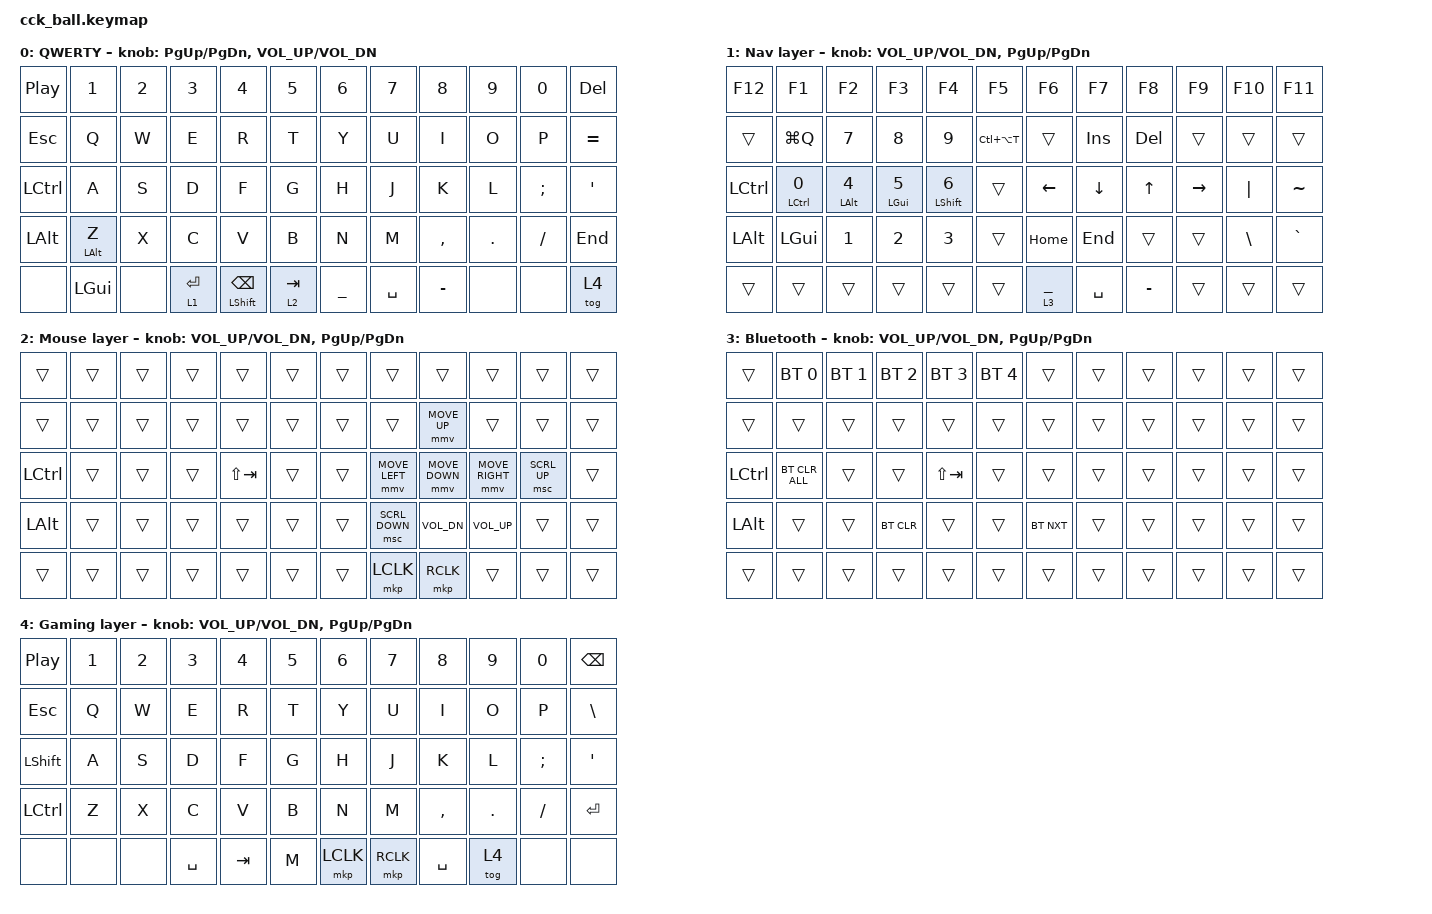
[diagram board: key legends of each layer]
#define ZMK_POINTING_DEFAULT_MOVE_VAL 1000
#define ZMK_POINTING_DEFAULT_SCRL_VAL 200

#include <input/processors.dtsi>
#include <zephyr/dt-bindings/input/input-event-codes.h>
#include <behaviors.dtsi>
#include <dt-bindings/zmk/bt.h>
#include <dt-bindings/zmk/keys.h>
#include <dt-bindings/zmk/pointing.h>
#include <dt-bindings/zmk/input_transform.h>

&soft_off { hold-time-ms = <2000>; };

&mmv_input_listener { input-processors = <&zip_xy_scaler 2 1>; };

&msc_input_listener { input-processors = <&zip_scroll_scaler 2 1>; };

&msc {
    acceleration-exponent = <0>;
    time-to-max-speed-ms = <300>;
    delay-ms = <0>;
};

&mmv {
    acceleration-exponent = <1>;
    time-to-max-speed-ms = <500>;
    trigger-period-ms = <16>;
};

#define MY_COMBO(NAME, LAYERS, KEYS, BINDING) \
  combo##NAME {                               \
    timeout-ms = <50>;                        \
    layers = <LAYERS>;                        \
    key-positions = <KEYS>;                   \
    bindings = <&kp BINDING>;                 \
  };

/ {
    combos {
        compatible = "zmk,combos";
        MY_COMBO(lt  , 1  , 31 32, LT)
        MY_COMBO(gt  , 1  , 32 33, GT)
        MY_COMBO(lpar, 0  , 31 32, LPAR)
        MY_COMBO(rpar, 0  , 32 33, RPAR)
        MY_COMBO(lbrk, 1  , 43 44, LBKT)
        MY_COMBO(rbrk, 1  , 44 45, RBKT)
        MY_COMBO(lbrc, 0  , 43 44, LBRC)
        MY_COMBO(rbrc, 0  , 44 45, RBRC)
        MY_COMBO(eq  , 0  , 39 40, EQUAL)
        MY_COMBO(plus, 0 1, 38 39, PLUS)
        MY_COMBO(esc , 0  , 27 28, ESC)
    };

    behaviors {
        hm: homerow_mods {
            compatible = "zmk,behavior-hold-tap";
            #binding-cells = <2>;
            tapping-term-ms = <200>;
            quick-tap-ms = <0>;
            flavor = "tap-preferred";
            bindings = <&kp>, <&kp>;
        };
    };

    keymap {
        compatible = "zmk,keymap";

        QWERTY {
            display-name = "QWERTY";
            bindings = <
&kp C_PP   &kp N1     &kp N2  &kp N3     &kp N4          &kp N5       &kp N6     &kp N7     &kp N8     &kp N9   &kp N0   &kp DELETE
&kp ESC    &kp Q      &kp W   &kp E      &kp R           &kp T        &kp Y      &kp U      &kp I      &kp O    &kp P    &kp EQUAL
&kp LCTRL  &kp A      &kp S   &kp D      &kp F           &kp G        &kp H      &kp J      &kp K      &kp L    &kp SEMI &kp SQT
&kp LALT   &hm LALT Z &kp X   &kp C      &kp V           &kp B        &kp N      &kp M      &kp COMMA  &kp DOT  &kp FSLH &kp END
&none      &kp LGUI   &none   &lt 1 RET  &mt LSHFT BSPC  &lt 2 TAB    &kp UNDER  &kp SPACE  &kp MINUS  &none    &none    &tog 4
            >;

            sensor-bindings = <&inc_dec_kp PG_UP PG_DN &inc_dec_kp C_VOL_UP C_VOL_DN>;
        };

        Nav_layer {
            display-name = "Nav layer";
            bindings = <
&kp F12    &kp F1        &kp F2       &kp F3       &kp F4        &kp F5         &kp F6       &kp F7       &kp F8       &kp F9    &kp F10  &kp F11
&trans     &kp LG(Q)     &kp N7       &kp N8       &kp N9        &kp LC(LA(T))  &trans       &kp INSERT   &kp DELETE   &trans    &trans   &trans
&kp LCTRL  &hm LCTRL N0  &hm LALT N4  &hm LGUI N5  &hm LSHFT N6  &trans         &kp LEFT     &kp DOWN     &kp UP       &kp RIGHT &kp PIPE &kp TILDE
&kp LALT   &kp LGUI      &kp N1       &kp N2       &kp N3        &trans         &kp HOME     &kp END      &trans       &trans    &kp BSLH &kp GRAVE
&trans     &trans        &trans       &trans       &trans        &trans         &lt 3 UNDER  &kp SPACE    &kp MINUS    &trans    &trans   &trans
            >;

            sensor-bindings = <&inc_dec_kp C_VOL_UP C_VOL_DN &inc_dec_kp PG_UP PG_DN>;
        };

        Mouse_layer {
            display-name = "Mouse layer";
            bindings = <
&trans    &trans &trans &trans &trans      &trans   &trans &trans         &trans         &trans          &trans       &trans
&trans    &trans &trans &trans &trans      &trans   &trans &trans         &mmv MOVE_UP   &trans          &trans       &trans
&kp LCTRL &trans &trans &trans &kp LS(TAB) &trans   &trans &mmv MOVE_LEFT &mmv MOVE_DOWN &mmv MOVE_RIGHT &msc SCRL_UP &trans
&kp LALT  &trans &trans &trans &trans      &trans   &trans &msc SCRL_DOWN &kp C_VOL_DN   &kp C_VOL_UP    &trans       &trans
&trans    &trans &trans &trans &trans      &trans   &trans &mkp LCLK      &mkp RCLK      &trans          &trans       &trans
            >;

            sensor-bindings = <&inc_dec_kp C_VOL_UP C_VOL_DN &inc_dec_kp PG_UP PG_DN>;
        };

        BT_layers {
            display-name = "Bluetooth";
            bindings = <
&trans     &bt BT_SEL 0    &bt BT_SEL 1  &bt BT_SEL 2  &bt BT_SEL 3  &bt BT_SEL 4  &trans      &trans  &trans  &trans  &trans  &trans
&trans     &trans          &trans        &trans        &trans        &trans        &trans      &trans  &trans  &trans  &trans  &trans
&kp LCTRL  &bt BT_CLR_ALL  &trans        &trans        &kp LS(TAB)   &trans        &trans      &trans  &trans  &trans  &trans  &trans
&kp LALT   &trans          &trans        &bt BT_CLR    &trans        &trans        &bt BT_NXT  &trans  &trans  &trans  &trans  &trans
&trans     &trans          &trans        &trans        &trans        &trans        &trans      &trans  &trans  &trans  &trans  &trans
            >;

            sensor-bindings = <&inc_dec_kp C_VOL_UP C_VOL_DN &inc_dec_kp PG_UP PG_DN>;
        };

        Gaming_layer {
            display-name = "Gaming layer";
            bindings = <
&kp C_PP         &kp N1        &kp N2        &kp N3          &kp N4     &kp N5        &kp N6    &kp N7    &kp N8     &kp N9          &kp N0          &kp BACKSPACE
&kp ESC          &kp Q         &kp W         &kp E           &kp R      &kp T         &kp Y     &kp U     &kp I      &kp O           &kp P           &kp BSLH
&kp LSHFT        &kp A         &kp S         &kp D           &kp F      &kp G         &kp H     &kp J     &kp K      &kp L           &kp SEMI        &kp SQT
&kp LCTRL        &kp Z         &kp X         &kp C           &kp V      &kp B         &kp N     &kp M     &kp COMMA  &kp DOT         &kp FSLH        &kp RET
&none            &none         &none         &kp SPACE       &kp TAB    &kp M         &mkp LCLK &mkp RCLK &kp SPACE  &tog 4          &none           &none
            >;

            sensor-bindings = <&inc_dec_kp C_VOL_UP C_VOL_DN &inc_dec_kp PG_UP PG_DN>;
        };
    };
};
